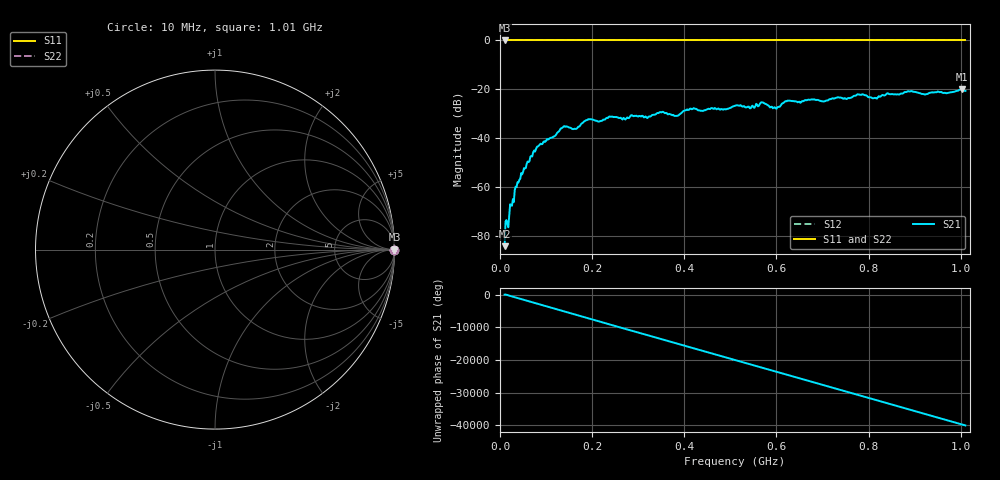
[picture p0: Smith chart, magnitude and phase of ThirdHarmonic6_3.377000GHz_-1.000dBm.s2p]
! 8/17/2025 10:43:40 AM
! C:\ANRITSUVNA\TEMP\TEMP.S2P
! CHANNEL.1
! TR.MEASUREMENT
! RAW.DATA
! RF.CORRECTION.OFF
! AVERAGING.OFF
! IF.BANDWIDTH: 5KHZ
! SWEEPTYPE:  FREQ.SWEEP(Linear)
! Reference Plane Port Info
! PORT:  PORT1  PORT2
! DISTANCE:  0  m  0  m
! TIME:  0  s  0  s
! PHASE.OFFSET:  0  deg.  0  deg.
! LOSS:  0  dB  0  dB
! REF.LOSS:  0  dB  0  dB
! REF.FREQ:  0  Hz  0  Hz
! Power Info
! POWER:  -20  dBm  -20  dBm
! EFF.POWER:  -20  dBm  -20  dBm
! SOURCE.ATTEN:  0  dB  0  dB
! TEST.ATTEN:  0  dB  0  dB
# GHZ S RI R 50.0
! FREQ.GHZ  S11RE  S11IM  S21RE  S21IM  S12RE  S12IM  S22RE  S22IM
!; PortSelection: Port_12
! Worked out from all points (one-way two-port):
!   501 points, 10 MHz to 1.01 GHz, reference 50 ohm
!   highest |S21| = -20.02 dB at 1.002 GHz (marker M1); lowest = -84.1 dB at 10 MHz (marker M2)
!   lowest |S11| = 0.0 dB at 10 MHz (marker M3)
!   |S11| at or under -10 dB: nowhere
!   |S22| runs from 0.0 to 0.0 dB; largest |S21 - S12| = 1.1
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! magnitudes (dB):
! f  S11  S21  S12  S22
! 10 MHz  0.0  -84.1  0.0  0.0
! 36 MHz  0.0  -59.9  0.0  0.0
! 76 MHz  0.0  -45.5  0.0  0.0
! 136 MHz  0.0  -35.6  0.0  0.0
! 162 MHz  0.0  -36.1  0.0  0.0
! 178 MHz  0.0  -33.9  0.0  0.0
! 194 MHz  0.0  -32.2  0.0  0.0
! 322 MHz  0.0  -31.2  0.0  0.0
! 344 MHz  0.0  -29.7  0.0  0.0
! 382 MHz  0.0  -30.8  0.0  0.0
! 416 MHz  0.0  -28.2  0.0  0.0
! 510 MHz  0.0  -26.7  0.0  0.0
! 548 MHz  0.0  -26.7  0.0  0.0
! 570 MHz  0.0  -25.3  0.0  0.0
! 596 MHz  0.0  -27.3  0.0  0.0
! 622 MHz  0.0  -24.9  0.0  0.0
! 678 MHz  0.0  -24.1  0.0  0.0
! 780 MHz  0.0  -22.1  0.0  0.0
! 814 MHz  0.0  -23.4  0.0  0.0
! 844 MHz  0.0  -21.9  0.0  0.0
! 1.002 GHz  0.0  -20.0  0.0  0.0
! 1.01 GHz  0.0  -20.6  0.0  0.0
